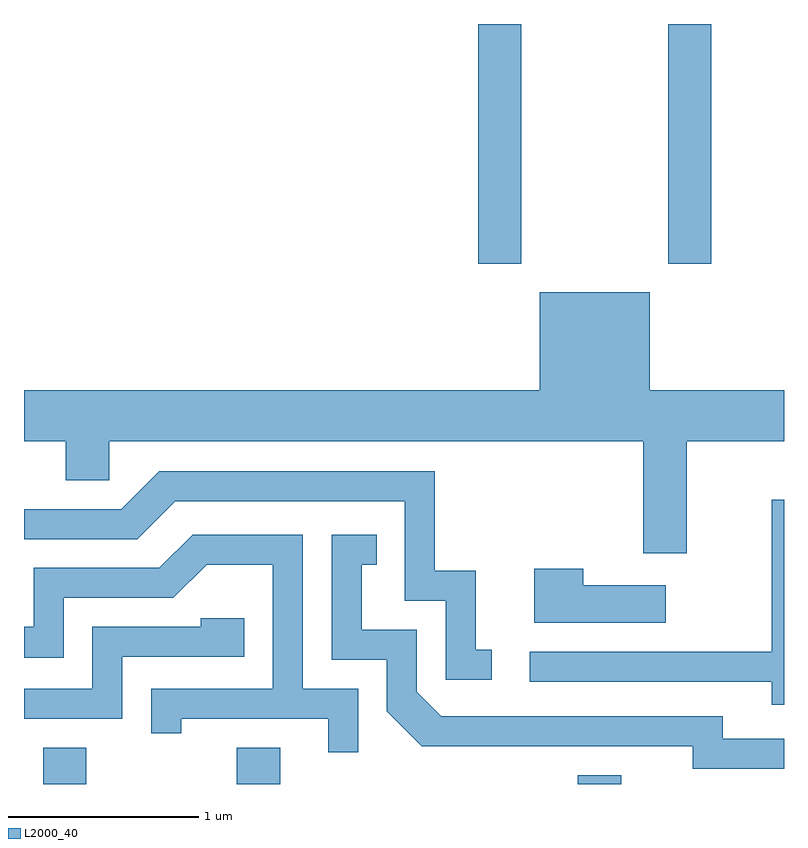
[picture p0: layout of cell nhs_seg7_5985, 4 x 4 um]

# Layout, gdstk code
import gdstk
lib = gdstk.Library(unit=1e-6, precision=1e-09)
def R(c, l, rs):  # rectangles x0, y0, x1, y1
    for r in rs: c.add(gdstk.rectangle(r[:2], r[2:], *l))
def P(c, l, *ps):  # polygons
    for p in ps: c.add(gdstk.Polygon(p, *l))
L2000_40 = (2000, 40)

nhs_seg7_5985 = lib.new_cell('nhs_seg7_5985')
R(nhs_seg7_5985, L2000_40, [(367.711,1750.252,367.939,1750.444), (368.731,1750.252,368.959,1750.444), (370.526,1750.252,370.754,1750.299), (370.001,1752.991,370.229,1754.252), (371.001,1752.991,371.229,1754.252)])
P(nhs_seg7_5985, L2000_40, [(371.099,1752.056),(371.611,1752.056),(371.611,1752.324),(370.904,1752.324),(370.904,1752.839),(370.326,1752.839),(370.326,1752.324),(367.611,1752.324),(367.611,1752.056),(367.831,1752.056),(367.831,1751.851),(368.059,1751.851),(368.059,1752.056),(370.871,1752.056),(370.871,1751.466),(371.099,1751.466)],
  [(370.073,1750.959),(369.989,1750.959),(369.989,1751.374),(369.774,1751.374),(369.774,1751.899),(368.324,1751.899),(368.124,1751.699),(367.611,1751.699),(367.611,1751.541),(368.207,1751.541),(368.407,1751.741),(369.616,1751.741),(369.616,1751.216),(369.831,1751.216),(369.831,1750.801),(370.073,1750.801)],
  [(371.611,1751.748),(371.546,1751.748),(371.546,1750.949),(370.273,1750.949),(370.273,1750.791),(371.546,1750.791),(371.546,1750.668),(371.611,1750.668)],
  [(371.611,1750.489),(371.289,1750.489),(371.289,1750.609),(369.807,1750.609),(369.679,1750.737),(369.679,1751.064),(369.389,1751.064),(369.389,1751.406),(369.468,1751.406),(369.468,1751.564),(369.231,1751.564),(369.231,1750.906),(369.521,1750.906),(369.521,1750.634),(369.704,1750.451),(371.131,1750.451),(371.131,1750.331),(371.611,1750.331)],
  [(369.369,1750.754),(369.079,1750.754),(369.079,1751.564),(368.499,1751.564),(368.324,1751.389),(367.661,1751.389),(367.661,1751.079),(367.611,1751.079),(367.611,1750.916),(367.819,1750.916),(367.819,1751.231),(368.397,1751.231),(368.572,1751.406),(368.921,1751.406),(368.921,1750.754),(368.281,1750.754),(368.281,1750.518),(368.439,1750.518),(368.439,1750.596),(369.211,1750.596),(369.211,1750.418),(369.369,1750.418)],
  [(370.989,1751.299),(370.554,1751.299),(370.554,1751.384),(370.296,1751.384),(370.296,1751.101),(370.989,1751.101)],
  [(368.129,1750.921),(368.769,1750.921),(368.769,1751.124),(368.541,1751.124),(368.541,1751.079),(367.971,1751.079),(367.971,1750.754),(367.611,1750.754),(367.611,1750.596),(368.129,1750.596)])

lib.write_gds('nhs_seg7_5985.gds')
